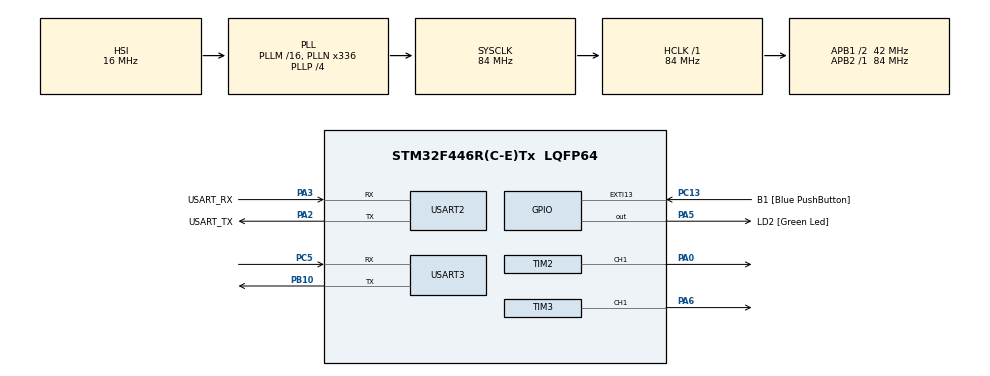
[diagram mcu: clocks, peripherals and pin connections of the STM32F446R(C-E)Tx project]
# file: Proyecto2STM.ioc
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Mcu.Family=STM32F4
Mcu.Name=STM32F446R(C-E)Tx
Mcu.Package=LQFP64
NVIC.PriorityGroup=NVIC_PRIORITYGROUP_0
NVIC.USART3_IRQn=true\:0\:0\:false\:false\:true\:true\:true\:true
PA0-WKUP.Signal=S_TIM2_CH1_ETR
PA13.GPIO_Label=TMS
PA13.Mode=Serial_Wire
PA13.Signal=SYS_JTMS-SWDIO
PA14.GPIO_Label=TCK
PA14.Mode=Serial_Wire
PA14.Signal=SYS_JTCK-SWCLK
PA2.GPIO_Label=USART_TX
PA2.Mode=Asynchronous
PA2.Signal=USART2_TX
PA3.GPIO_Label=USART_RX
PA3.Mode=Asynchronous
PA3.Signal=USART2_RX
PA5.GPIO_Label=LD2 [Green Led]
PA5.Signal=GPIO_Output
PA6.Signal=S_TIM3_CH1
PB10.Mode=Asynchronous
PB10.Signal=USART3_TX
PB3.GPIO_Label=SWO
PB3.Signal=SYS_JTDO-SWO
PC13.GPIO_Label=B1 [Blue PushButton]
PC13.GPIO_ModeDefaultEXTI=GPIO_MODE_IT_FALLING
PC13.Signal=GPXTI13
PC14-OSC32_IN.Mode=LSE-External-Oscillator
PC14-OSC32_IN.Signal=RCC_OSC32_IN
PC15-OSC32_OUT.Mode=LSE-External-Oscillator
PC15-OSC32_OUT.Signal=RCC_OSC32_OUT
PC5.Mode=Asynchronous
PC5.Signal=USART3_RX
PH0-OSC_IN.Mode=HSE-External-Oscillator
PH0-OSC_IN.Signal=RCC_OSC_IN
PH1-OSC_OUT.Mode=HSE-External-Oscillator
PH1-OSC_OUT.Signal=RCC_OSC_OUT
ProjectManager.HeapSize=0x200
ProjectManager.StackSize=0x400
ProjectManager.TargetToolchain=STM32CubeIDE
RCC.48MHZClocksFreq_Value=84000000
RCC.AHBFreq_Value=84000000
RCC.APB1CLKDivider=RCC_HCLK_DIV2
RCC.APB1Freq_Value=42000000
RCC.APB1TimFreq_Value=84000000
RCC.APB2Freq_Value=84000000
RCC.APB2TimFreq_Value=84000000
RCC.CortexFreq_Value=84000000
RCC.FLatency-AdvancedSettings=FLASH_LATENCY_2
RCC.HCLKFreq_Value=84000000
RCC.HSE_VALUE=8000000
RCC.HSI_VALUE=16000000
RCC.PLLN=336
RCC.PLLP=RCC_PLLP_DIV4
RCC.SYSCLKFreq_VALUE=84000000
RCC.SYSCLKSource=RCC_SYSCLKSOURCE_PLLCLK
RCC.USBFreq_Value=168000000
RCC.VCOOutputFreq_Value=336000000
SH.S_TIM2_CH1_ETR.0=TIM2_CH1,PWM Generation1 CH1
SH.S_TIM3_CH1.0=TIM3_CH1,PWM Generation1 CH1
TIM2.Channel-PWM\ Generation1\ CH1=TIM_CHANNEL_1
TIM2.Period=100-1
TIM2.Pulse-PWM\ Generation1\ CH1=50
TIM3.Channel-PWM\ Generation1\ CH1=TIM_CHANNEL_1
TIM3.Period=100-1
TIM3.Pulse-PWM\ Generation1\ CH1=50
USART2.VirtualMode=VM_ASYNC
USART3.VirtualMode=VM_ASYNC
VP_TIM2_VS_ClockSourceINT.Mode=Internal
VP_TIM3_VS_ClockSourceINT.Mode=Internal
board=NUCLEO-F446RE

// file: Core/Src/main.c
/* USER CODE BEGIN Header */
/**
  ******************************************************************************
  * @file           : main.c
  * @brief          : Main program body
  ******************************************************************************
  * @attention
  *
  * Copyright (c) 2026 STMicroelectronics.
  * All rights reserved.
  *
  * This software is licensed under terms that can be found in the LICENSE file
  * in the root directory of this software component.
  * If no LICENSE file comes with this software, it is provided AS-IS.
  *
  ******************************************************************************
  */
/* USER CODE END Header */
#include "main.h"

/* USER CODE BEGIN Includes */
#include "pitches.h"
#include <stdio.h>
#include <string.h>
/* USER CODE END Includes */

/* USER CODE BEGIN PTD */
#define TIM_FREQ 84000000
#define VALOR_PERIODO 100

// Forma para comparar más fácil con una partitura
// Para star wars main theme
#define TEMPO 150
#define NEGRA (60000 / TEMPO)

#define REDONDA   (NEGRA * 4)
#define BLANCA    (NEGRA * 2)
#define CORCHEA   (NEGRA / 2)
#define TRESILLO (NEGRA / 3)
#define SEMICORCHEA (NEGRA / 4)

// para cantina
#define TEMPO_CANTINA 150
#define NEGRA_C (60000 / TEMPO_CANTINA)
#define CORCHEA_C (NEGRA_C / 2)
#define TRESILLO_C (NEGRA_C / 3)
#define SEMICORCHEA_C (NEGRA_C / 4)
#define SEPTICILLO_C (NEGRA_C / 7)

// para marcha imperial
#define TEMPO_MARCHA 80
#define BLANCA_M    (NEGRA_M * 2)
#define NEGRA_M (60000 / TEMPO_MARCHA)
#define CORCHEA_M (NEGRA_M / 2)
#define TRESILLO_M (NEGRA_M / 3)
#define SEMICORCHEA_M (NEGRA_M / 4)
#define SEPTICILLO_M (NEGRA_M / 14)

// para fondo juego
#define TEMPO_FALCON 150
#define BLANCA_F    (NEGRA_F * 2)
#define NEGRA_F (60000 / TEMPO_FALCON)
#define CORCHEA_F (NEGRA_F / 2)
#define TRESILLO_F (NEGRA_F / 3)
#define SEMICORCHEA_F (NEGRA_F / 4)
#define SEPTICILLO_F (NEGRA_F / 14)

/* USER CODE END PTD */

TIM_HandleTypeDef htim2;
TIM_HandleTypeDef htim3;

UART_HandleTypeDef huart2;
UART_HandleTypeDef huart3;

/* USER CODE BEGIN PV */
volatile uint8_t dat = 0;
//================ Para reproducir música=================
int main_theme_notes[] = {
  // --- Tema Principal (Fase 1) ---
  NOTE_F4, NOTE_F4, NOTE_F4, NOTE_AS4, NOTE_F5,
  NOTE_DS5, NOTE_D5, NOTE_C5, NOTE_AS5, NOTE_F5,
  NOTE_DS5, NOTE_D5, NOTE_C5, NOTE_AS5, NOTE_F5,
  NOTE_DS5, NOTE_D5, NOTE_DS5, NOTE_C5,

  // Fase 2
  NOTE_F4, NOTE_F4, NOTE_F4, NOTE_AS4, NOTE_F5,
  NOTE_DS5, NOTE_D5, NOTE_C5, NOTE_AS5, NOTE_F5,
  NOTE_DS5, NOTE_D5, NOTE_C5, NOTE_AS5, NOTE_F5,
  NOTE_DS5, NOTE_D5, NOTE_DS5, NOTE_C5,
  // Fase 3
  NOTE_F4, NOTE_F4, NOTE_G4, NOTE_G4,
  NOTE_DS5, NOTE_D5, NOTE_C5, NOTE_AS4, NOTE_AS4, NOTE_C5, NOTE_D5, NOTE_C5, NOTE_G4, NOTE_A4,

  NOTE_F4, NOTE_F4, NOTE_G4, NOTE_G4,
  NOTE_DS5, NOTE_D5, NOTE_C5, NOTE_AS4, NOTE_F5, NOTE_C5,

  NOTE_F4, NOTE_F4, NOTE_G4, NOTE_G4,
  NOTE_DS5, NOTE_D5, NOTE_C5, NOTE_AS4, NOTE_AS4, NOTE_C5, NOTE_D5, NOTE_C5, NOTE_G4, NOTE_A4,

  // Fase final
  NOTE_F5, NOTE_F5, NOTE_AS5, NOTE_GS5, NOTE_FS5, NOTE_F5, NOTE_DS5, NOTE_CS5, NOTE_C5, NOTE_AS4, NOTE_F5

};

int main_theme_durations[] = {
  // Tema Principal (Fase 1)
  CORCHEA, CORCHEA, CORCHEA, BLANCA + NEGRA, BLANCA + NEGRA,
  CORCHEA, CORCHEA, CORCHEA, BLANCA + NEGRA, BLANCA + NEGRA,
  CORCHEA, CORCHEA, CORCHEA, BLANCA + NEGRA, BLANCA + NEGRA,
  CORCHEA, CORCHEA, CORCHEA, BLANCA + NEGRA,
  // (Fase 2)
  CORCHEA, CORCHEA, CORCHEA, BLANCA + NEGRA, BLANCA + NEGRA,
  CORCHEA, CORCHEA, CORCHEA, BLANCA + NEGRA, BLANCA + NEGRA,
  CORCHEA, CORCHEA, CORCHEA, BLANCA + NEGRA, BLANCA + NEGRA,
  CORCHEA, CORCHEA, CORCHEA, BLANCA + NEGRA,

  NEGRA, NEGRA, BLANCA + NEGRA, NEGRA,
  CORCHEA, CORCHEA, CORCHEA, CORCHEA, TRESILLO, TRESILLO, TRESILLO, CORCHEA, CORCHEA, NEGRA,

  NEGRA, NEGRA, BLANCA + NEGRA, NEGRA,
  CORCHEA, CORCHEA, CORCHEA, CORCHEA, NEGRA, NEGRA,

  NEGRA, NEGRA, BLANCA + NEGRA, NEGRA,
  CORCHEA, CORCHEA, CORCHEA, CORCHEA, TRESILLO, TRESILLO, TRESILLO, CORCHEA, CORCHEA, NEGRA,

  // Fase final
  NEGRA, CORCHEA, NEGRA, CORCHEA, NEGRA, CORCHEA, NEGRA, CORCHEA, NEGRA, CORCHEA, REDONDA
};

int cantina_notes[] = {
  // Fase 1
  NOTE_A4, NOTE_D5, NOTE_A4, NOTE_D5, NOTE_A4, NOTE_D5, NOTE_A4, NOTE_GS4, NOTE_A4,0,
  NOTE_A4, NOTE_GS4, NOTE_A4, NOTE_G4, NOTE_FS4, NOTE_G4, NOTE_FS4, NOTE_F4, NOTE_D4,0,

  NOTE_A4, NOTE_D5, NOTE_A4, NOTE_D5, NOTE_A4, NOTE_D5, NOTE_A4, NOTE_GS4, NOTE_A4,
  NOTE_G4, 0, NOTE_G4, 0, NOTE_G4, NOTE_FS4, NOTE_G4, NOTE_C5, NOTE_AS4, NOTE_A4, NOTE_G4,

  NOTE_A4, NOTE_D5, NOTE_A4, NOTE_D5, NOTE_A4, NOTE_D5, NOTE_A4, NOTE_GS4, NOTE_A4,
  NOTE_C5, 0, NOTE_C5, NOTE_A4, NOTE_G4, NOTE_F4, NOTE_D4, 0,

  NOTE_D4, NOTE_F4, NOTE_A4, NOTE_C5, NOTE_DS5, NOTE_D5, NOTE_AS4, NOTE_A4, NOTE_F4, 0,

  // INTERMEDIO
  NOTE_A4, NOTE_F4, NOTE_A4, 0, NOTE_A4, NOTE_F4, NOTE_A4, 0,
  NOTE_A4, NOTE_F4, NOTE_GS4, NOTE_A4, NOTE_F4, NOTE_D4, 0,

  NOTE_A4, NOTE_F4, NOTE_A4, 0, NOTE_A4, NOTE_F4, NOTE_A4, 0,
  NOTE_A4, NOTE_F4, NOTE_GS4, NOTE_A4, NOTE_G4, NOTE_C4, 0,

  NOTE_A4, NOTE_F4, NOTE_A4, 0, NOTE_A4, NOTE_F4, NOTE_A4, 0,
  NOTE_A4, NOTE_F4, NOTE_GS4, NOTE_A4, NOTE_F4, NOTE_D4, 0,

  NOTE_F4, NOTE_D4, NOTE_F4, NOTE_F4, NOTE_D4, NOTE_F4, NOTE_GS4, NOTE_A4, NOTE_D4, 0,
  NOTE_D4, NOTE_F4, NOTE_AS4, NOTE_D5, NOTE_GS4, NOTE_A4, NOTE_F4,
};

int cantina_durations[] = {
  // Fase 1
  CORCHEA_C, CORCHEA_C, CORCHEA_C, CORCHEA_C, TRESILLO_C, CORCHEA_C, CORCHEA_C , TRESILLO_C, CORCHEA_C, SEPTICILLO_C,
  TRESILLO_C, TRESILLO_C, TRESILLO_C, CORCHEA_C, TRESILLO_C, TRESILLO_C, TRESILLO_C, CORCHEA_C, CORCHEA_C, CORCHEA_C,

  CORCHEA_C, CORCHEA_C, CORCHEA_C, CORCHEA_C, TRESILLO_C, CORCHEA_C, CORCHEA_C , TRESILLO_C, CORCHEA_C,
  CORCHEA_C, SEPTICILLO_C, CORCHEA_C, SEPTICILLO_C, TRESILLO_C, TRESILLO_C, TRESILLO_C, CORCHEA_C, TRESILLO_C, CORCHEA_C, CORCHEA_C,

  CORCHEA_C, CORCHEA_C, CORCHEA_C, CORCHEA_C, TRESILLO_C, CORCHEA_C, CORCHEA_C , TRESILLO_C, CORCHEA_C,
  CORCHEA_C, SEPTICILLO_C, CORCHEA_C, TRESILLO_C, TRESILLO_C, TRESILLO_C, CORCHEA_C, CORCHEA_C,

  NEGRA_C, NEGRA_C, NEGRA_C, NEGRA_C, TRESILLO_C, CORCHEA_C, TRESILLO_C, CORCHEA_C, CORCHEA_C, NEGRA_C,

  //INTERMEDIO
  TRESILLO_C, TRESILLO_C, TRESILLO_C, NEGRA_C, TRESILLO_C, TRESILLO_C, TRESILLO_C, NEGRA_C,
  TRESILLO_C, TRESILLO_C, TRESILLO_C, TRESILLO_C, CORCHEA_C, CORCHEA_C, NEGRA_C,

  TRESILLO_C, TRESILLO_C, TRESILLO_C, NEGRA_C, TRESILLO_C, TRESILLO_C, TRESILLO_C, NEGRA_C,
  TRESILLO_C, TRESILLO_C, TRESILLO_C, TRESILLO_C, CORCHEA_C, CORCHEA_C, NEGRA_C,

  TRESILLO_C, TRESILLO_C, TRESILLO_C, NEGRA_C, TRESILLO_C, TRESILLO_C, TRESILLO_C, NEGRA_C,
  TRESILLO_C, TRESILLO_C, TRESILLO_C, TRESILLO_C, CORCHEA_C, CORCHEA_C, NEGRA_C,

  TRESILLO_C, TRESILLO_C, TRESILLO_C, TRESILLO_C, TRESILLO_C, TRESILLO_C, TRESILLO_C, TRESILLO_C, TRESILLO_C, TRESILLO_C,
  TRESILLO_C, TRESILLO_C, TRESILLO_C, TRESILLO_C, TRESILLO_C, TRESILLO_C, TRESILLO_C,

};

int imperial_notes[] = {
  // --- Principal ---
  NOTE_A4, 0, NOTE_A4, 0, NOTE_A4,
  NOTE_F4, NOTE_C5,
  NOTE_A4, NOTE_F4, NOTE_C5,
  NOTE_A4,

  // --- Segunda parte ---
  NOTE_E5, 0, NOTE_E5, 0, NOTE_E5,
  NOTE_F5, NOTE_C5,
  NOTE_GS4, NOTE_F4, NOTE_C5,
  NOTE_A4,

  // --- Desarrollo ---
  NOTE_A5, 0, NOTE_A4, NOTE_A4,
  NOTE_A5, NOTE_GS5, NOTE_G5,
  NOTE_FS5, NOTE_F5, NOTE_FS5,
  0, NOTE_AS4,
  NOTE_DS5, NOTE_D5, NOTE_CS5,
  NOTE_C5, NOTE_B4, NOTE_C5,
  0, NOTE_F4, NOTE_GS4, NOTE_F4,
  NOTE_C5, NOTE_A4, NOTE_F4, NOTE_C5,
  NOTE_A4
};

int imperial_durations[] = {
  // Motivo Principal
  NEGRA_M, SEPTICILLO_M, NEGRA_M, SEPTICILLO_M, NEGRA_M,
  CORCHEA_M, SEMICORCHEA_M,
  NEGRA_M, CORCHEA_M, SEMICORCHEA_M,
  BLANCA_M,

  // Segunda parte
  NEGRA_M, SEPTICILLO_M, NEGRA_M, SEPTICILLO_M, NEGRA_M,
  CORCHEA_M, SEMICORCHEA_M,
  NEGRA_M, CORCHEA_M, CORCHEA_M,
  BLANCA_M,

  // Desarrollo
  NEGRA_M, SEPTICILLO_M, CORCHEA_M, SEMICORCHEA_M,
  NEGRA_M, CORCHEA_M, SEMICORCHEA_M,
  SEMICORCHEA_M, SEMICORCHEA_M, SEMICORCHEA_M,
  CORCHEA_M, CORCHEA_M,
  NEGRA_M, CORCHEA_M, SEMICORCHEA_M,
  SEMICORCHEA_M, SEMICORCHEA_M, SEMICORCHEA_M,
  SEMICORCHEA_M, CORCHEA_M, NEGRA_M, CORCHEA_M,
  SEMICORCHEA_M, NEGRA_M, CORCHEA_M, CORCHEA_M,
  BLANCA_M
};

int falcon_notes[] = {
  // --- Intro: El Motor Arranca ---
  NOTE_G4, NOTE_G4, NOTE_G4,        // Triple golpe rítmico
  NOTE_C5, NOTE_G4, NOTE_C5,        // Salto de cuarta/quinta
  NOTE_AS4, NOTE_A4, NOTE_G4, NOTE_F4, // Bajada rápida en escala

  // --- Motivo de Vuelo (Agudo y Heroico) ---
  NOTE_C5, NOTE_G5,                 // Salto de Quinta (Ascenso)
  NOTE_F5, NOTE_E5, NOTE_D5,        // Descenso rápido
  NOTE_G5, NOTE_C5,                 // Regreso a la base
  NOTE_AS4, NOTE_C5, NOTE_D5,       // Preparando el salto

  // --- Maniobras Evasivas ---
  NOTE_DS5, NOTE_D5, NOTE_C5,       // Tresillo
  NOTE_G4, NOTE_GS4, NOTE_AS4,      // Subida cromática
  NOTE_C5, NOTE_G4, NOTE_AS4,
  NOTE_C5, NOTE_G5,                 // Clímax de la frase

  // --- Transición para el Loop ---
  NOTE_F5, NOTE_DS5, NOTE_D5, NOTE_C5,
  NOTE_G4, NOTE_G4                  // Reinicio de ciclo
};

int falcon_durations[] = {
  // Intro
  TRESILLO_F, TRESILLO_F, TRESILLO_F,
  NEGRA_F, CORCHEA_F, CORCHEA_F,
  CORCHEA_F, CORCHEA_F, CORCHEA_F, CORCHEA_F,

  // Motivo de Vuelo
  BLANCA_F, BLANCA_F,
  TRESILLO_F, TRESILLO_F, TRESILLO_F,
  BLANCA_F, NEGRA_F,
  CORCHEA_F, CORCHEA_F, NEGRA_F,

  // Maniobras
  TRESILLO_F, TRESILLO_F, TRESILLO_F,
  TRESILLO_F, TRESILLO_F, TRESILLO_F,
  CORCHEA_F, CORCHEA_F, NEGRA_F,
  BLANCA_F, BLANCA_F,

  // Transición
  CORCHEA_F, CORCHEA_F, CORCHEA_F, CORCHEA_F,
  NEGRA_F, NEGRA_F
};

int asteroid_notes[] = {
  // --- Motivo de Alerta (Tensión) ---
  NOTE_G4, NOTE_GS4, NOTE_A4,       // Subida de tensión
  NOTE_AS4, NOTE_REST, NOTE_AS4,    // Golpes secos
  NOTE_AS4, NOTE_A4, NOTE_GS4,      // Bajada rápida
  NOTE_G4,                          // Resolución

  // --- El Escape (Ritmo de Galope) ---
  NOTE_C5, NOTE_C5, NOTE_C5,        // Tresillo de movimiento
  NOTE_F5, NOTE_C5,                 // Salto heroico
  NOTE_AS4, NOTE_A4, NOTE_G4,       // Descenso rápido
  NOTE_C5, NOTE_G4,                 // Regreso

  // --- Sección de Ataque (Aguda) ---
  NOTE_C6, NOTE_C6, NOTE_C6,        // ¡Cuidado! (Octava alta)
  NOTE_AS5, NOTE_A5, NOTE_G5,
  NOTE_F5, NOTE_G5, NOTE_A5,        // Escala ascendente
  NOTE_AS5, NOTE_C6,

  // --- Cierre de Frase para Loop ---
  NOTE_G5, NOTE_F5, NOTE_E5, NOTE_D5,
  NOTE_C5, NOTE_C5                  // Final seco
};

int asteroid_durations[] = {
  // Motivo de Alerta
  TRESILLO_F, TRESILLO_F, TRESILLO_F,
  NEGRA_F, CORCHEA_F, CORCHEA_F,
  TRESILLO_F, TRESILLO_F, TRESILLO_F,
  BLANCA_F,

  // El Escape
  TRESILLO_F, TRESILLO_F, TRESILLO_F,
  BLANCA_F, NEGRA_F,
  TRESILLO_F, TRESILLO_F, TRESILLO_F,
  BLANCA_F, NEGRA_F,

  // Sección de Ataque
  CORCHEA_F, CORCHEA_F, CORCHEA_F,
  TRESILLO_F, TRESILLO_F, TRESILLO_F,
  CORCHEA_F, CORCHEA_F, CORCHEA_F,
  NEGRA_F, BLANCA_F,

  // Cierre
  CORCHEA_F, CORCHEA_F, CORCHEA_F, CORCHEA_F,
  NEGRA_F, NEGRA_F
};

int select_char_notes[] = {NOTE_A3, NOTE_E4, NOTE_A4};
int select_char_durations[] = {CORCHEA_F, CORCHEA_F, NEGRA_F};

int ship_engine_notes[] = {NOTE_B2, NOTE_B3, NOTE_B2, NOTE_B1};
int ship_engine_durations[] = {SEMICORCHEA_F, SEMICORCHEA_F, SEMICORCHEA_F, SEMICORCHEA_F};

int blaster_notes[] = {
  NOTE_C7, NOTE_AS6, NOTE_GS6, NOTE_FS6, NOTE_E6, NOTE_D6, NOTE_C6
};

int blaster_durations[] = {
  SEMICORCHEA_F/4, SEMICORCHEA_F/4, SEMICORCHEA_F/4,
  SEMICORCHEA_F/4, SEMICORCHEA_F/4, SEMICORCHEA_F/4,
  SEMICORCHEA_F/4
};

int explosion_notes[] = {NOTE_B2, NOTE_C1, NOTE_CS2, NOTE_REST, NOTE_C1};
int explosion_durations[] = {CORCHEA_F, SEMICORCHEA_F, SEMICORCHEA_F, SEMICORCHEA_F, BLANCA_F};

/* USER CODE END PV */

void SystemClock_Config(void);
static void MX_GPIO_Init(void);
static void MX_TIM2_Init(void);
static void MX_USART2_UART_Init(void);
static void MX_TIM3_Init(void);
static void MX_USART3_UART_Init(void);
/* USER CODE BEGIN PFP */
int presForFrequency(int frequency);
void playTone(int *tone, int *duration, int *pause, int size);
void noTone(void);
void playTone2(int *tone, int *duration, int *pause, int size);
void noTone2(void);
/* USER CODE END PFP */

/* USER CODE BEGIN 0 */

//----------------------------------------------------------------------------
// Funciones necesarias para generar los PWM para reproducir una canción
//----------------------------------------------------------------------------
int presForFrequency(int frequency)
{
	if (frequency == 0)
	{
		return 0;
	}
	return ((TIM_FREQ / (VALOR_PERIODO * frequency)) -1 );
}

void playTone(int *tone, int *duration, int *pause, int size)
{
	for (int i = 0; i < size; i++)
	{
		if (dat != 0) {
			noTone();
			return; // Sale de la canción actual inmediatamente
		}
		int prescaler = presForFrequency(tone[i]); // Calcular el prescaler
		int dur = duration[i]; // Obtener la duración
		int pauseBetweenTones = 0;
		if (pause != NULL)
		{
			pauseBetweenTones = pause[i] - duration[i];
		}

		__HAL_TIM_SET_PRESCALER(&htim2, prescaler);
		htim2.Instance->EGR = TIM_EGR_UG;
		HAL_Delay(dur); // Duración de la nota
		noTone(); // Pausa
		HAL_Delay(pauseBetweenTones); // Duración sin tono
		if (dat != 0) return;
	}
}

void noTone (void)
{
	__HAL_TIM_SET_PRESCALER(&htim2, 0); // Prescaler 0
}

// --- Funciones para el Canal 2 (Timer 3) ---

void playTone2(int *tone, int *duration, int *pause, int size)
{
    for (int i = 0; i < size; i++)
    {
        int prescaler = presForFrequency(tone[i]);
        int dur = duration[i];
        int pauseBetweenTones = 0;
        if (pause != NULL)
        {
            pauseBetweenTones = pause[i] - duration[i];
        }

        __HAL_TIM_SET_PRESCALER(&htim3, prescaler); // Cambio de timer3
        htim3.Instance->EGR = TIM_EGR_UG;           // Forzar actualización inmediata

        HAL_Delay(dur);
        noTone2();
        HAL_Delay(pauseBetweenTones);
    }
}

void noTone2 (void)
{
    __HAL_TIM_SET_PRESCALER(&htim3, 0); //cambiar timer3
}
/* USER CODE END 0 */

int main(void)
{

  /* MCU Configuration--------------------------------------------------------*/

  /* Reset of all peripherals, Initializes the Flash interface and the Systick. */
  HAL_Init();

  /* Configure the system clock */
  SystemClock_Config();

  /* Initialize all configured peripherals */
  MX_GPIO_Init();
  MX_TIM2_Init();
  MX_USART2_UART_Init();
  MX_TIM3_Init();
  MX_USART3_UART_Init();
  /* USER CODE BEGIN 2 */
  //HAL_UART_Receive_IT(&huart2, &dat, 1);
  HAL_UART_Receive_IT(&huart3, &dat, 1);
  /* USER CODE END 2 */

  /* Infinite loop */
  /* USER CODE BEGIN WHILE */
  HAL_TIM_PWM_Start(&htim2, TIM_CHANNEL_1); //Inicializo el timer y el canal correspondiente
  HAL_TIM_PWM_Start(&htim3, TIM_CHANNEL_1); //Inicializo el timer y el canal correspondiente

  while (1)
  {
	  if (dat != 0) // Solo entra si se recibió algo nuevo
	   {
		   uint8_t comando = dat; // Guardamos el comando
		   dat = 0;

		   switch(comando)
		   {
		   	   case '0': //Silencio
					noTone();
					noTone2();
					break;
			   case '1':
				   playTone(cantina_notes, cantina_durations, NULL, (sizeof(cantina_notes)/sizeof(cantina_notes[0])));
				   break;
			   case '2':
				   playTone2(explosion_notes, explosion_durations, NULL, (sizeof(explosion_notes)/sizeof(explosion_notes[0])));
				   break;
			   case '3': // inicio y cinematica naves
				   playTone(main_theme_notes, main_theme_durations, NULL, (sizeof(main_theme_notes)/sizeof(main_theme_notes[0])));
				   break;
			   case '4': //nivel 1 y 2
				   playTone(falcon_notes, falcon_durations, NULL, (sizeof(falcon_notes)/sizeof(falcon_notes[0])));
				   break;
			   case '5':
				   playTone2(blaster_notes, blaster_durations, NULL, (sizeof(blaster_notes)/sizeof(blaster_notes[0])));
				   break;
			   case '6':
				   playTone2(ship_engine_notes, ship_engine_durations, NULL, (sizeof(ship_engine_notes)/sizeof(ship_engine_notes[0])));
				   break;
			   case '7':
				   playTone(imperial_notes, imperial_durations, NULL, (sizeof(imperial_notes)/sizeof(imperial_notes[0])));
				   break;
			   // Quitamos el default para que no sature la UART
		   }
	   }

  }
}

void SystemClock_Config(void)
{
  RCC_OscInitTypeDef RCC_OscInitStruct = {0};
  RCC_ClkInitTypeDef RCC_ClkInitStruct = {0};

  /** Configure the main internal regulator output voltage
  */
  __HAL_RCC_PWR_CLK_ENABLE();
  __HAL_PWR_VOLTAGESCALING_CONFIG(PWR_REGULATOR_VOLTAGE_SCALE3);

  /** Initializes the RCC Oscillators according to the specified parameters
  * in the RCC_OscInitTypeDef structure.
  */
  RCC_OscInitStruct.OscillatorType = RCC_OSCILLATORTYPE_HSI;
  RCC_OscInitStruct.HSIState = RCC_HSI_ON;
  RCC_OscInitStruct.HSICalibrationValue = RCC_HSICALIBRATION_DEFAULT;
  RCC_OscInitStruct.PLL.PLLState = RCC_PLL_ON;
  RCC_OscInitStruct.PLL.PLLSource = RCC_PLLSOURCE_HSI;
  RCC_OscInitStruct.PLL.PLLM = 16;
  RCC_OscInitStruct.PLL.PLLN = 336;
  RCC_OscInitStruct.PLL.PLLP = RCC_PLLP_DIV4;
  RCC_OscInitStruct.PLL.PLLQ = 2;
  RCC_OscInitStruct.PLL.PLLR = 2;
  if (HAL_RCC_OscConfig(&RCC_OscInitStruct) != HAL_OK)
  {
    Error_Handler();
  }

  /** Initializes the CPU, AHB and APB buses clocks
  */
  RCC_ClkInitStruct.ClockType = RCC_CLOCKTYPE_HCLK|RCC_CLOCKTYPE_SYSCLK
                              |RCC_CLOCKTYPE_PCLK1|RCC_CLOCKTYPE_PCLK2;
  RCC_ClkInitStruct.SYSCLKSource = RCC_SYSCLKSOURCE_PLLCLK;
  RCC_ClkInitStruct.AHBCLKDivider = RCC_SYSCLK_DIV1;
  RCC_ClkInitStruct.APB1CLKDivider = RCC_HCLK_DIV2;
  RCC_ClkInitStruct.APB2CLKDivider = RCC_HCLK_DIV1;

  if (HAL_RCC_ClockConfig(&RCC_ClkInitStruct, FLASH_LATENCY_2) != HAL_OK)
  {
    Error_Handler();
  }
}

static void MX_TIM2_Init(void)
{

  TIM_ClockConfigTypeDef sClockSourceConfig = {0};
  TIM_MasterConfigTypeDef sMasterConfig = {0};
  TIM_OC_InitTypeDef sConfigOC = {0};

  htim2.Instance = TIM2;
  htim2.Init.Prescaler = 0;
  htim2.Init.CounterMode = TIM_COUNTERMODE_UP;
  htim2.Init.Period = 100-1;
  htim2.Init.ClockDivision = TIM_CLOCKDIVISION_DIV1;
  htim2.Init.AutoReloadPreload = TIM_AUTORELOAD_PRELOAD_DISABLE;
  if (HAL_TIM_Base_Init(&htim2) != HAL_OK)
  {
    Error_Handler();
  }
  sClockSourceConfig.ClockSource = TIM_CLOCKSOURCE_INTERNAL;
  if (HAL_TIM_ConfigClockSource(&htim2, &sClockSourceConfig) != HAL_OK)
  {
    Error_Handler();
  }
  if (HAL_TIM_PWM_Init(&htim2) != HAL_OK)
  {
    Error_Handler();
  }
  sMasterConfig.MasterOutputTrigger = TIM_TRGO_RESET;
  sMasterConfig.MasterSlaveMode = TIM_MASTERSLAVEMODE_DISABLE;
  if (HAL_TIMEx_MasterConfigSynchronization(&htim2, &sMasterConfig) != HAL_OK)
  {
    Error_Handler();
  }
  sConfigOC.OCMode = TIM_OCMODE_PWM1;
  sConfigOC.Pulse = 50;
  sConfigOC.OCPolarity = TIM_OCPOLARITY_HIGH;
  sConfigOC.OCFastMode = TIM_OCFAST_DISABLE;
  if (HAL_TIM_PWM_ConfigChannel(&htim2, &sConfigOC, TIM_CHANNEL_1) != HAL_OK)
  {
    Error_Handler();
  }
  HAL_TIM_MspPostInit(&htim2);

}

static void MX_TIM3_Init(void)
{

  TIM_ClockConfigTypeDef sClockSourceConfig = {0};
  TIM_MasterConfigTypeDef sMasterConfig = {0};
  TIM_OC_InitTypeDef sConfigOC = {0};

  htim3.Instance = TIM3;
  htim3.Init.Prescaler = 0;
  htim3.Init.CounterMode = TIM_COUNTERMODE_UP;
  htim3.Init.Period = 100-1;
  htim3.Init.ClockDivision = TIM_CLOCKDIVISION_DIV1;
  htim3.Init.AutoReloadPreload = TIM_AUTORELOAD_PRELOAD_DISABLE;
  if (HAL_TIM_Base_Init(&htim3) != HAL_OK)
  {
    Error_Handler();
  }
  sClockSourceConfig.ClockSource = TIM_CLOCKSOURCE_INTERNAL;
  if (HAL_TIM_ConfigClockSource(&htim3, &sClockSourceConfig) != HAL_OK)
  {
    Error_Handler();
  }
  if (HAL_TIM_PWM_Init(&htim3) != HAL_OK)
  {
    Error_Handler();
  }
  sMasterConfig.MasterOutputTrigger = TIM_TRGO_RESET;
  sMasterConfig.MasterSlaveMode = TIM_MASTERSLAVEMODE_DISABLE;
  if (HAL_TIMEx_MasterConfigSynchronization(&htim3, &sMasterConfig) != HAL_OK)
  {
    Error_Handler();
  }
  sConfigOC.OCMode = TIM_OCMODE_PWM1;
  sConfigOC.Pulse = 50;
  sConfigOC.OCPolarity = TIM_OCPOLARITY_HIGH;
  sConfigOC.OCFastMode = TIM_OCFAST_DISABLE;
  if (HAL_TIM_PWM_ConfigChannel(&htim3, &sConfigOC, TIM_CHANNEL_1) != HAL_OK)
  {
    Error_Handler();
  }
  HAL_TIM_MspPostInit(&htim3);

}

static void MX_USART2_UART_Init(void)
{

  huart2.Instance = USART2;
  huart2.Init.BaudRate = 115200;
  huart2.Init.WordLength = UART_WORDLENGTH_8B;
  huart2.Init.StopBits = UART_STOPBITS_1;
  huart2.Init.Parity = UART_PARITY_NONE;
  huart2.Init.Mode = UART_MODE_TX_RX;
  huart2.Init.HwFlowCtl = UART_HWCONTROL_NONE;
  huart2.Init.OverSampling = UART_OVERSAMPLING_16;
  if (HAL_UART_Init(&huart2) != HAL_OK)
  {
    Error_Handler();
  }

}

static void MX_USART3_UART_Init(void)
{

  huart3.Instance = USART3;
  huart3.Init.BaudRate = 115200;
  huart3.Init.WordLength = UART_WORDLENGTH_8B;
  huart3.Init.StopBits = UART_STOPBITS_1;
  huart3.Init.Parity = UART_PARITY_NONE;
  huart3.Init.Mode = UART_MODE_TX_RX;
  huart3.Init.HwFlowCtl = UART_HWCONTROL_NONE;
  huart3.Init.OverSampling = UART_OVERSAMPLING_16;
  if (HAL_UART_Init(&huart3) != HAL_OK)
  {
    Error_Handler();
  }

}

static void MX_GPIO_Init(void)
{
  GPIO_InitTypeDef GPIO_InitStruct = {0};

  /* GPIO Ports Clock Enable */
  __HAL_RCC_GPIOC_CLK_ENABLE();
  __HAL_RCC_GPIOH_CLK_ENABLE();
  __HAL_RCC_GPIOA_CLK_ENABLE();
  __HAL_RCC_GPIOB_CLK_ENABLE();

  /*Configure GPIO pin Output Level */
  HAL_GPIO_WritePin(LD2_GPIO_Port, LD2_Pin, GPIO_PIN_RESET);

  /*Configure GPIO pin : B1_Pin */
  GPIO_InitStruct.Pin = B1_Pin;
  GPIO_InitStruct.Mode = GPIO_MODE_IT_FALLING;
  GPIO_InitStruct.Pull = GPIO_NOPULL;
  HAL_GPIO_Init(B1_GPIO_Port, &GPIO_InitStruct);

  /*Configure GPIO pin : LD2_Pin */
  GPIO_InitStruct.Pin = LD2_Pin;
  GPIO_InitStruct.Mode = GPIO_MODE_OUTPUT_PP;
  GPIO_InitStruct.Pull = GPIO_NOPULL;
  GPIO_InitStruct.Speed = GPIO_SPEED_FREQ_LOW;
  HAL_GPIO_Init(LD2_GPIO_Port, &GPIO_InitStruct);

}

/* USER CODE BEGIN 4 */
void HAL_UART_RxCpltCallback(UART_HandleTypeDef *huart)
{
	if (huart->Instance == USART3) // Verifica que la interrupción sea del USART1
	    {
	 	 HAL_GPIO_TogglePin(LD2_GPIO_Port, LD2_Pin); //Verificación de envio
	 	 HAL_UART_Receive_IT(&huart3, &dat, 1); //Recepción de datos por UART
	    }
}
/* USER CODE END 4 */

void Error_Handler(void)
{
  __disable_irq();
  while (1)
  {
  }
}
